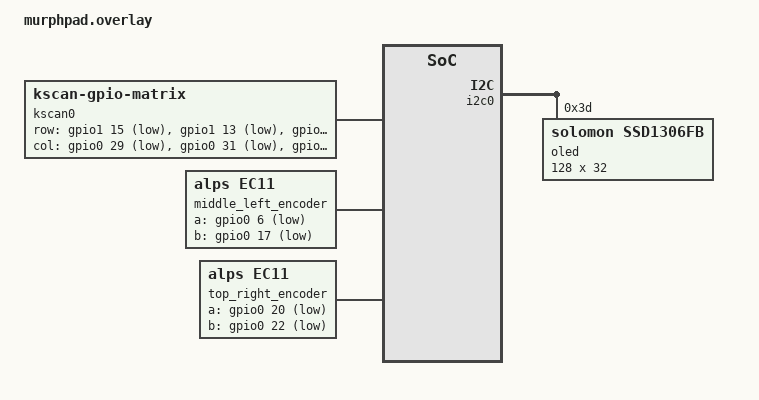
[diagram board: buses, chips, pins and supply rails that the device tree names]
/ {
    chosen {
        zmk,kscan = &kscan0;
    };

    kscan0: kscan {
        compatible = "zmk,kscan-gpio-matrix";

        /* 6 hàng */
        row-gpios = <
            &gpio1 15 (GPIO_ACTIVE_LOW | GPIO_PULL_UP)  /* R0 */
            &gpio1 13 (GPIO_ACTIVE_LOW | GPIO_PULL_UP)  /* R1 */
            &gpio1 11 (GPIO_ACTIVE_LOW | GPIO_PULL_UP)  /* R2 */
            &gpio0 10 (GPIO_ACTIVE_LOW | GPIO_PULL_UP)  /* R3 */
            &gpio0 9  (GPIO_ACTIVE_LOW | GPIO_PULL_UP)  /* R4 */
            &gpio1 4  (GPIO_ACTIVE_LOW | GPIO_PULL_UP)  /* R5 */
        >;

        /* 5 cột */
        col-gpios = <
            &gpio0 29 (GPIO_ACTIVE_LOW) /* C0 */
            &gpio0 31 (GPIO_ACTIVE_LOW) /* C1 */
            &gpio0 2  (GPIO_ACTIVE_LOW) /* C2 */
            &gpio1 0  (GPIO_ACTIVE_LOW) /* C3 */
            &gpio1 6  (GPIO_ACTIVE_LOW) /* C4 */
        >;

        diode-direction = "col2row";
    };

    /* Encoder trái */
    middle_left_encoder: encoder_left {
        compatible = "alps,ec11";
        a-gpios = <&gpio0 6  (GPIO_ACTIVE_LOW | GPIO_PULL_UP)>;  /* D1 */
        b-gpios = <&gpio0 17 (GPIO_ACTIVE_LOW | GPIO_PULL_UP)>;  /* D2 */
        steps = <4>;
        status = "okay";
    };

    /* Encoder phải */
    top_right_encoder: encoder_right {
        compatible = "alps,ec11";
        a-gpios = <&gpio0 20 (GPIO_ACTIVE_LOW | GPIO_PULL_UP)>;  /* D3 */
        b-gpios = <&gpio0 22 (GPIO_ACTIVE_LOW | GPIO_PULL_UP)>;  /* D4 */
        steps = <4>;
        status = "okay";
    };
};

/* OLED SSD1306 dùng I2C0: SDA=P0.08, SCL=P0.11 */
&i2c0 {
    status = "okay";

    oled: ssd1306@3d {
        compatible = "solomon,ssd1306fb";
        reg = <0x3d>;
        width = <128>;
        height = <32>;   /* đổi 64 nếu dùng màn 128x64 */
    };
};
